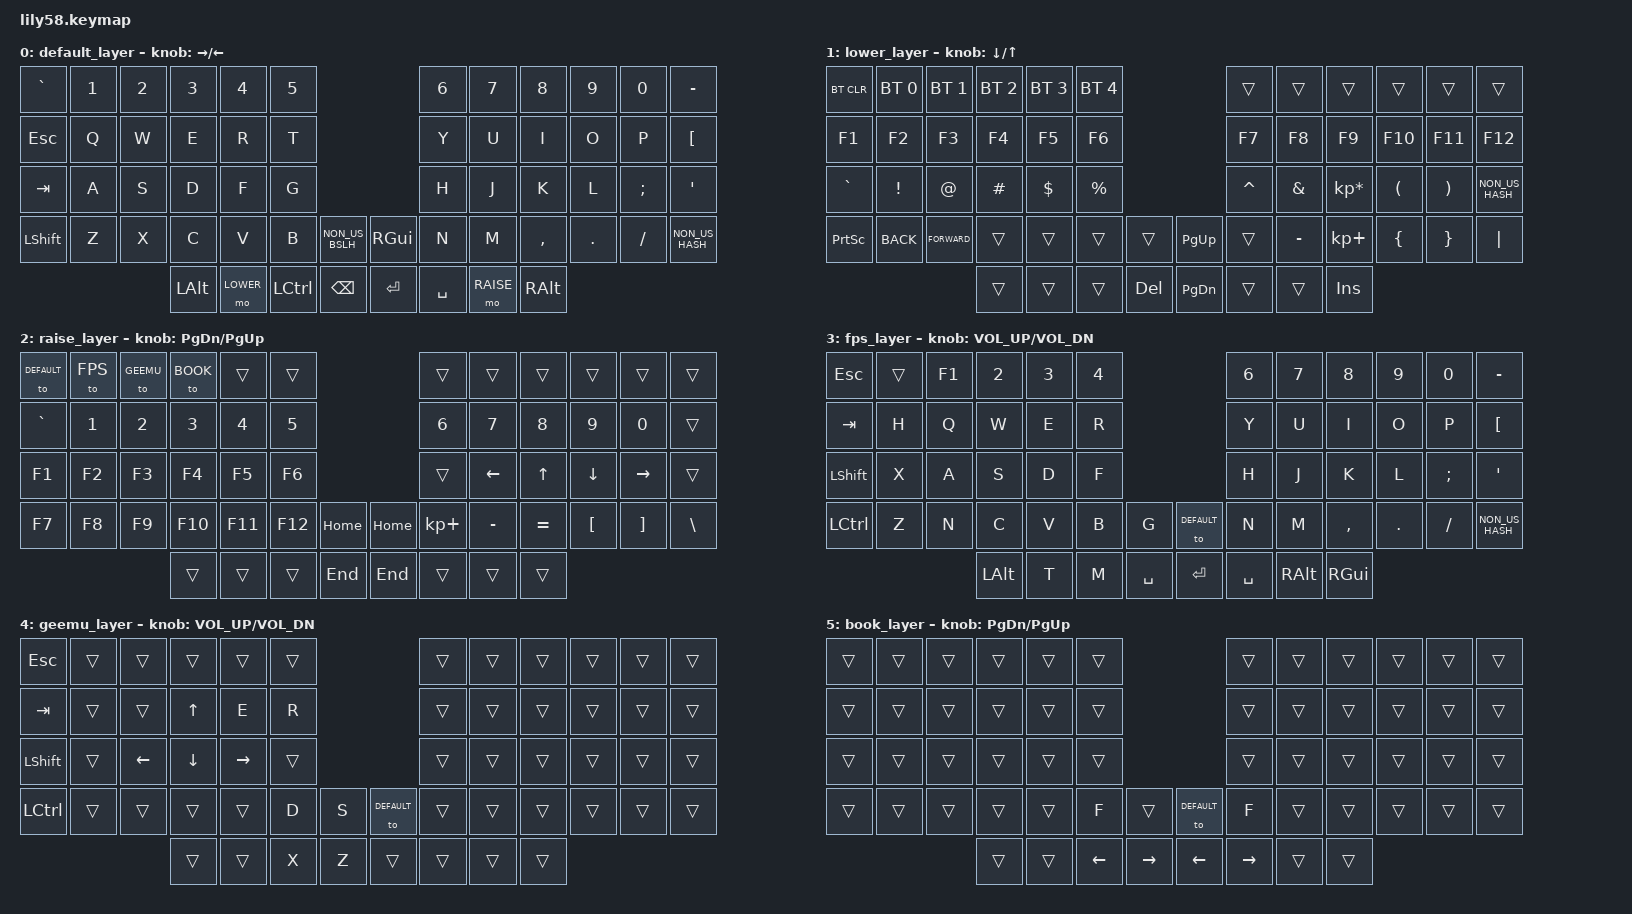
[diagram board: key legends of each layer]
/*
 * Copyright (c) 2020 The ZMK Contributors
 *
 * SPDX-License-Identifier: MIT
 */

#include <behaviors.dtsi>
#include <dt-bindings/zmk/keys.h>
#include <dt-bindings/zmk/bt.h>
#include <dt-bindings/zmk/ext_power.h>

#include <behaviors.dtsi>
#include <dt-bindings/zmk/keys.h>
#include <dt-bindings/zmk/bt.h>
#include <dt-bindings/zmk/ext_power.h>

#define DEFAULT 0
#define LOWER 1
#define RAISE 2
#define FPS 3
#define GEEMU 4
#define BOOK 5

/ {
	keymap {
		compatible = "zmk,keymap";

		default_layer {
			bindings = <
&kp GRAVE &kp N1 &kp N2 &kp N3   &kp N4    &kp N5                               &kp N6    &kp N7    &kp N8    &kp N9   &kp N0   &kp MINUS
&kp ESC   &kp Q  &kp W  &kp E    &kp R     &kp T                                &kp Y     &kp U     &kp I     &kp O    &kp P    &kp LBKT
&kp TAB   &kp A  &kp S  &kp D    &kp F     &kp G                                &kp H     &kp J     &kp K     &kp L    &kp SEMI &kp SQT
&kp LSHFT &kp Z  &kp X  &kp C    &kp V     &kp B     &kp NON_US_BSLH  &kp RGUI  &kp N     &kp M     &kp COMMA &kp DOT  &kp FSLH &kp NON_US_HASH
                        &kp LALT &mo LOWER &kp LCTRL &kp BSPC         &kp RET   &kp SPACE &mo RAISE &kp RALT
			>;

			sensor-bindings = <&inc_dec_kp RIGHT LEFT>;
		};

		lower_layer {
			bindings = <
&bt BT_CLR &bt BT_SEL 0 &bt BT_SEL 1  &bt BT_SEL 2 &bt BT_SEL 3 &bt BT_SEL 4                       &trans    &trans   &trans          &trans    &trans    &trans
&kp F1     &kp F2       &kp F3        &kp F4       &kp F5       &kp F6                             &kp F7    &kp F8   &kp F9          &kp F10   &kp F11   &kp F12
&kp GRAVE  &kp EXCL     &kp AT        &kp HASH     &kp DOLLAR   &kp PRCNT                          &kp CARET &kp AMPS &kp KP_MULTIPLY &kp LPAR  &kp RPAR  &kp NON_US_HASH
&kp PSCRN  &kp K_BACK   &kp K_FORWARD &trans       &trans       &trans       &trans     &kp PG_UP  &trans   &kp MINUS &kp KP_PLUS     &kp LBRC  &kp RBRC  &kp PIPE
                                      &trans       &trans       &trans       &kp DEL    &kp PG_DN  &trans   &trans    &kp INS
			>;

			sensor-bindings = <&inc_dec_kp DOWN UP>;
		};

		raise_layer {
			bindings = <
&to DEFAULT &to FPS &to GEEMU  &to BOOK &trans  &trans                        &trans      &trans    &trans    &trans   &trans    &trans
&kp GRAVE   &kp N1  &kp N2     &kp N3   &kp N4  &kp N5                        &kp N6      &kp N7    &kp N8    &kp N9   &kp N0    &trans
&kp F1      &kp F2  &kp F3     &kp F4   &kp F5  &kp F6                        &trans      &kp LEFT  &kp UP    &kp DOWN &kp RIGHT &trans
&kp F7      &kp F8  &kp F9     &kp F10  &kp F11 &kp F12  &kp HOME   &kp HOME  &kp KP_PLUS &kp MINUS &kp EQUAL &kp LBKT &kp RBKT  &kp BSLH
                               &trans   &trans  &trans   &kp END    &kp END   &trans      &trans    &trans
			>;

			sensor-bindings = <&inc_dec_kp PG_DN PG_UP>;
		};

        fps_layer {
    bindings = <
&kp ESC   &trans &kp F1 &kp N2   &kp N3 &kp N4                         &kp N6      &kp N7    &kp N8    &kp N9  &kp N0   &kp MINUS
&kp TAB   &kp H  &kp Q  &kp W    &kp E  &kp R                          &kp Y       &kp U     &kp I     &kp O   &kp P    &kp LBKT
&kp LSHFT &kp X  &kp A  &kp S    &kp D  &kp F                          &kp H       &kp J     &kp K     &kp L   &kp SEMI &kp SQT
&kp LCTRL &kp Z  &kp N  &kp C    &kp V  &kp B &kp G        &to DEFAULT &kp N       &kp M     &kp COMMA &kp DOT &kp FSLH &kp NON_US_HASH
                        &kp LALT &kp T  &kp M &kp SPACE    &kp RET     &kp SPACE   &kp RALT  &kp RGUI
    >;

    sensor-bindings = <&inc_dec_kp C_VOL_UP C_VOL_DN>;
        };

        geemu_layer {
    bindings = <
&kp ESC   &trans &trans   &trans   &trans    &trans                           &trans      &trans    &trans    &trans  &trans   &trans
&kp TAB   &trans &trans   &kp UP   &kp E     &kp R                            &trans      &trans    &trans    &trans  &trans   &trans
&kp LSHFT &trans &kp LEFT &kp DOWN &kp RIGHT &trans                           &trans      &trans    &trans    &trans  &trans   &trans
&kp LCTRL &trans &trans   &trans   &trans    &kp D  &kp S         &to DEFAULT &trans      &trans    &trans    &trans  &trans   &trans
                          &trans   &trans    &kp X  &kp Z         &trans      &trans      &trans    &trans
    >;

    sensor-bindings = <&inc_dec_kp C_VOL_UP C_VOL_DN>;
        };

		book_layer {
    bindings = <
&trans &trans &trans   &trans   &trans    &trans                              &trans      &trans    &trans    &trans  &trans   &trans
&trans &trans &trans   &trans   &trans    &trans                              &trans      &trans    &trans    &trans  &trans   &trans
&trans &trans &trans   &trans   &trans    &trans                              &trans      &trans    &trans    &trans  &trans   &trans
&trans &trans &trans   &trans   &trans    &kp F    &trans         &to DEFAULT &kp F       &trans    &trans    &trans  &trans   &trans
                       &trans   &trans    &kp LEFT &kp RIGHT      &kp LEFT    &kp RIGHT   &trans    &trans
    >;

    sensor-bindings = <&inc_dec_kp PG_DN PG_UP>;
        };


// END
	};
};

// ------------------------------------------------------------------------------------------------------------
// |   |   |   |   |   |   |                    |   |   |   |   |   |   |
// |   |   |   |   |   |   |                    |   |   |   |   |   |   |
// |   |   |   |   |   |   |                    |   |   |   |   |   |   |
// |   |   |   |   |   |   |   |            |   |   |   |   |   |   |   |
//                     |   |   |            |   |   |   |   |   |   |   |
//    bindings = <
//&trans &trans &trans   &trans   &trans    &trans                           &trans      &trans    &trans    &trans  &trans   &trans
//&trans &trans &trans   &trans   &trans    &trans                           &trans      &trans    &trans    &trans  &trans   &trans
//&trans &trans &trans   &trans   &trans    &trans                           &trans      &trans    &trans    &trans  &trans   &trans
//&trans &trans &trans   &trans   &trans    &trans &trans        &to DEFAULT &trans      &trans    &trans    &trans  &trans   &trans
//                       &trans   &trans    &trans &trans        &trans      &trans      &trans    &trans
//    >;
